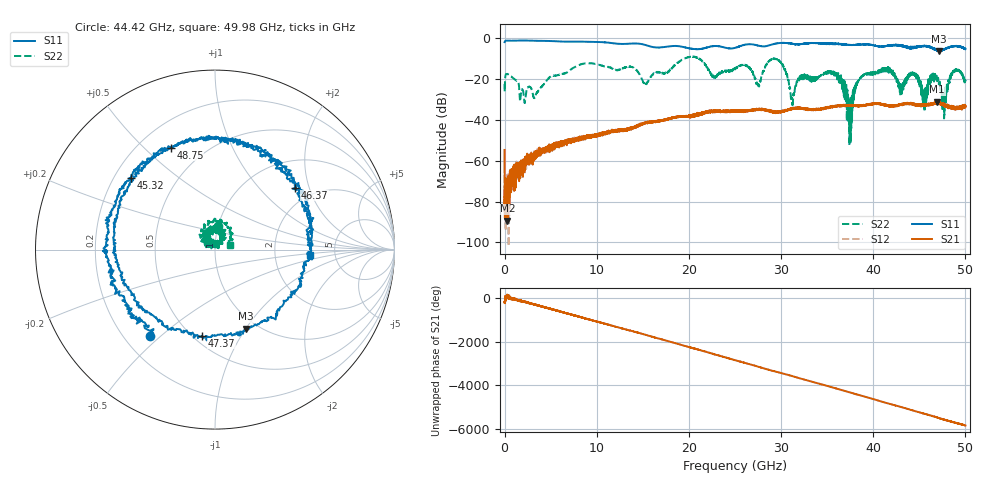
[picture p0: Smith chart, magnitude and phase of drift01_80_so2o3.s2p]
!Created with skrf (http://scikit-rf.org).
# Hz S RI R 50.0
!freq ReS11 ImS11 ReS21 ImS21 ReS12 ImS12 ReS22 ImS22
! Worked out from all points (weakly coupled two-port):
!   10001 points, 300 kHz to 50 GHz, reference 50 ohm
!   highest |S21| = -31.28 dB at 46.95 GHz (marker M1); lowest = -89.4 dB at 305.3 MHz (marker M2)
!   lowest |S11| = -6.5 dB at 47.15 GHz (marker M3), VSWR 2.79, Z = 44 - j49.9 ohm
!   |S11| at or under -10 dB: nowhere
!   |S22| runs from -52.5 to -9.2 dB; largest |S21 - S12| = 0.0042
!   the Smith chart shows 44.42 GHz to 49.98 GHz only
!   S11 on the Smith chart (normalised r, x): 44.42 GHz: 0.30, -0.46; 45.32 GHz: 0.27, +0.35; 46.37 GHz: 1.60, +1.63; 47.37 GHz: 0.56, -0.70; 48.75 GHz: 0.33, +0.61; 49.98 GHz: 3.25, -0.27
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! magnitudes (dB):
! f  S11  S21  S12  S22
! 300 kHz  -2.2  -54.8  -57.2  -22.6
! 305.3 MHz  -1.4  -89.4  -66.9  -17.7
! 3.29 GHz  -1.5  -59.1  -57.7  -28.8
! 8.335 GHz  -1.9  -49.0  -49.3  -12.9
! 16.67 GHz  -4.8  -40.7  -40.9  -16.7
! 25 GHz  -5.0  -35.9  -35.6  -15.2
! 29.58 GHz  -2.8  -36.2  -36.3  -10.7
! 31.23 GHz  -3.0  -34.5  -34.7  -31.8
! 33.34 GHz  -2.6  -35.1  -35.1  -20.4
! 36.12 GHz  -3.1  -33.4  -33.2  -19.2
! 37.47 GHz  -3.6  -33.1  -33.1  -38.1
! 38.64 GHz  -3.3  -33.3  -33.2  -19.4
! 41.67 GHz  -3.9  -33.0  -33.3  -16.3
! 44.42 GHz  -4.4  -32.5  -32.7  -17.5
! 45.32 GHz  -4.2  -33.1  -32.9  -25.8
! 46.37 GHz  -4.9  -32.5  -32.3  -19.5
! 46.95 GHz  -6.2  -31.3  -31.9  -21.3
! 47.15 GHz  -6.5  -32.2  -32.1  -22.3
! 47.37 GHz  -6.3  -32.1  -32.5  -25.8
! 48.75 GHz  -4.2  -34.4  -34.1  -16.7
! 49.98 GHz  -5.5  -33.5  -33.4  -21.1
! 50 GHz  -5.4  -33.5  -33.6  -21.3
